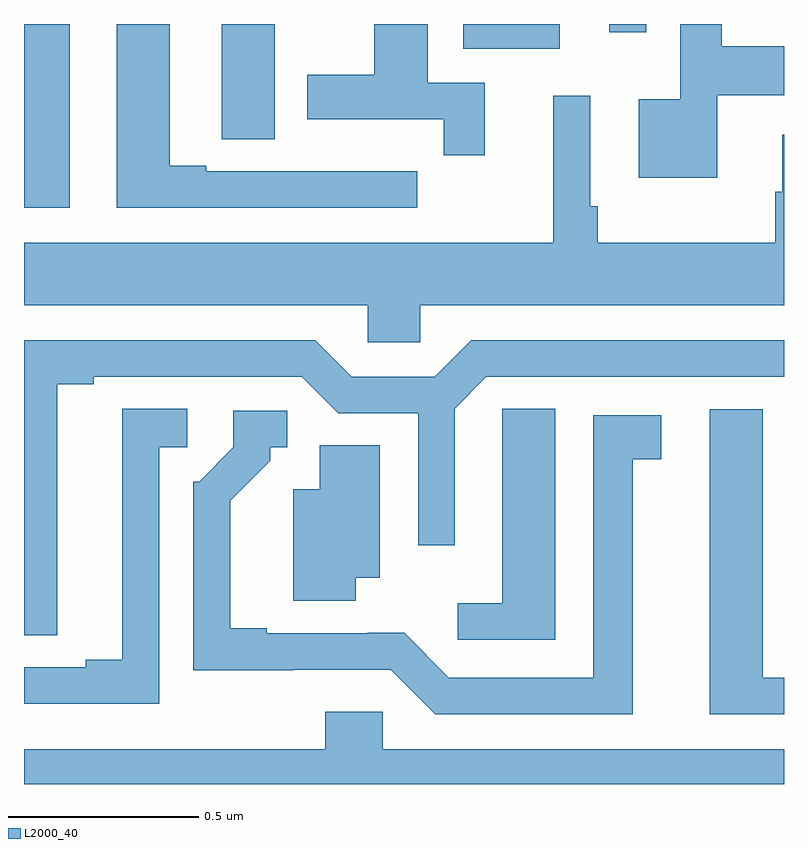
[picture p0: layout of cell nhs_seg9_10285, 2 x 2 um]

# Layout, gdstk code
import gdstk
lib = gdstk.Library(unit=1e-6, precision=1e-09)
def R(c, l, rs):  # rectangles x0, y0, x1, y1
    for r in rs: c.add(gdstk.rectangle(r[:2], r[2:], *l))
def P(c, l, *ps):  # polygons
    for p in ps: c.add(gdstk.Polygon(p, *l))
L2000_40 = (2000, 40)

nhs_seg9_10285 = lib.new_cell('nhs_seg9_10285')
R(nhs_seg9_10285, L2000_40, [(241,1190.016,241.12,1190.5), (242.156,1190.435,242.41,1190.5), (242.54,1190.478,242.637,1190.5)])
P(nhs_seg9_10285, L2000_40, [(241.66,1190.5),(241.52,1190.5),(241.52,1190.305),(241.521,1190.305),(241.521,1190.197),(241.66,1190.197)],
  [(242.213,1190.346),(242.062,1190.346),(242.062,1190.5),(241.922,1190.5),(241.922,1190.367),(241.745,1190.367),(241.745,1190.25),(242.104,1190.25),(242.104,1190.154),(242.213,1190.154)],
  [(242.035,1190.112),(241.922,1190.112),(241.922,1190.113),(241.756,1190.113),(241.756,1190.112),(241.48,1190.112),(241.48,1190.127),(241.384,1190.127),(241.384,1190.5),(241.244,1190.5),(241.244,1190.016),(242.035,1190.016)],
  [(242.824,1190.312),(243,1190.312),(243,1190.442),(242.836,1190.442),(242.836,1190.5),(242.727,1190.5),(242.727,1190.302),(242.618,1190.302),(242.618,1190.096),(242.824,1190.096)],
  [(242.043,1189.76),(243,1189.76),(243,1190.209),(242.996,1190.209),(242.996,1190.058),(242.977,1190.058),(242.977,1189.924),(242.51,1189.924),(242.51,1190.02),(242.49,1190.02),(242.49,1190.311),(242.393,1190.311),(242.393,1189.924),(241,1189.924),(241,1189.76),(241.905,1189.76),(241.905,1189.662),(242.043,1189.662)],
  [(241.087,1189.552),(241.183,1189.552),(241.183,1189.572),(241.731,1189.572),(241.827,1189.476),(242.037,1189.476),(242.037,1189.128),(242.133,1189.128),(242.133,1189.488),(242.217,1189.572),(243,1189.572),(243,1189.668),(242.177,1189.668),(242.081,1189.572),(241.863,1189.572),(241.767,1189.668),(241,1189.668),(241,1188.892),(241.087,1188.892)],
  [(241.356,1189.386),(241.429,1189.386),(241.429,1189.487),(241.259,1189.487),(241.259,1188.827),(241.163,1188.827),(241.163,1188.807),(241,1188.807),(241,1188.711),(241.356,1188.711)],
  [(242.398,1189.487),(242.259,1189.487),(242.259,1189.379),(242.258,1189.379),(242.258,1188.976),(242.142,1188.976),(242.142,1188.879),(242.398,1188.879)],
  [(243,1188.78),(242.944,1188.78),(242.944,1189.486),(242.804,1189.486),(242.804,1188.684),(243,1188.684)],
  [(242.602,1189.354),(242.677,1189.354),(242.677,1189.47),(242.498,1189.47),(242.498,1188.78),(242.118,1188.78),(242,1188.898),(241.904,1188.898),(241.904,1188.897),(241.639,1188.897),(241.639,1188.91),(241.543,1188.91),(241.543,1189.246),(241.648,1189.351),(241.648,1189.386),(241.693,1189.386),(241.693,1189.482),(241.551,1189.482),(241.551,1189.386),(241.461,1189.296),(241.446,1189.296),(241.446,1188.8),(241.709,1188.8),(241.709,1188.801),(241.965,1188.801),(242.082,1188.684),(242.602,1188.684)],
  [(241.873,1189.043),(241.936,1189.043),(241.936,1189.391),(241.778,1189.391),(241.778,1189.276),(241.709,1189.276),(241.709,1188.982),(241.873,1188.982)],
  [(243,1188.592),(241.944,1188.592),(241.944,1188.69),(241.793,1188.69),(241.793,1188.592),(241,1188.592),(241,1188.5),(243,1188.5)])

lib.write_gds('nhs_seg9_10285.gds')
